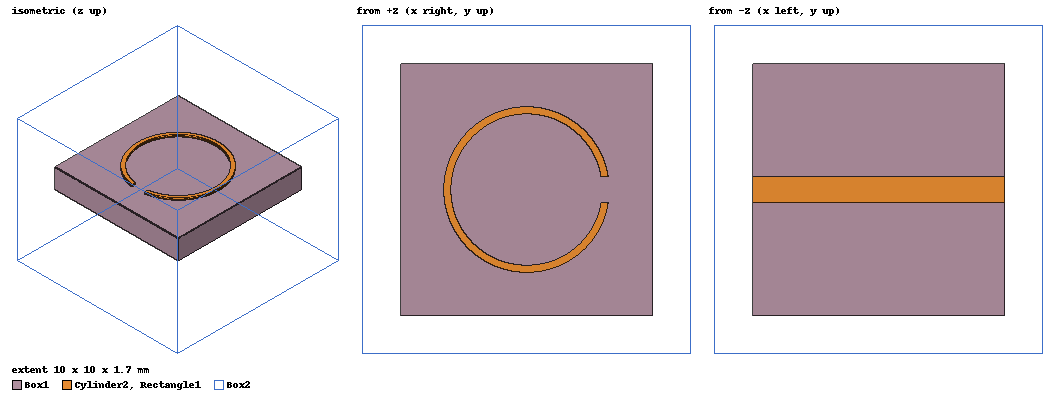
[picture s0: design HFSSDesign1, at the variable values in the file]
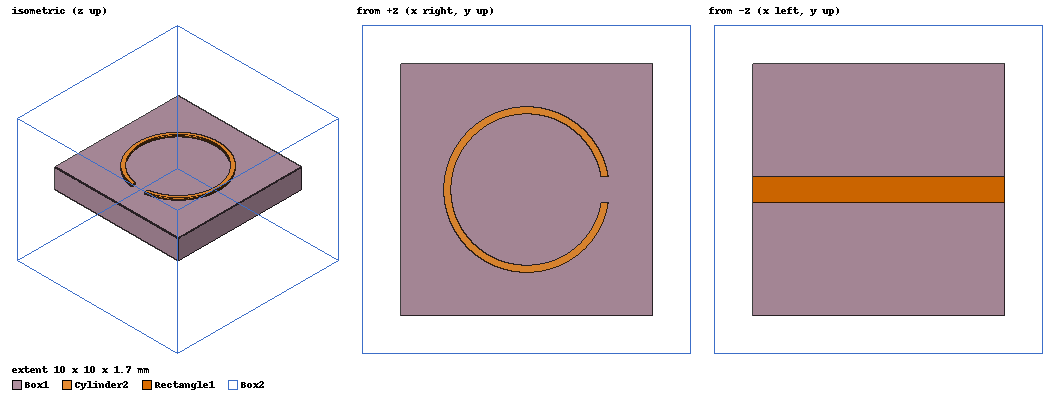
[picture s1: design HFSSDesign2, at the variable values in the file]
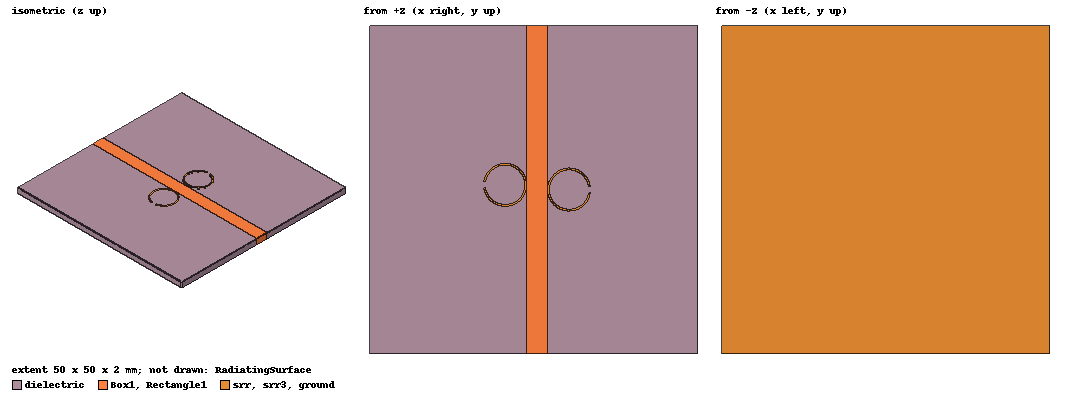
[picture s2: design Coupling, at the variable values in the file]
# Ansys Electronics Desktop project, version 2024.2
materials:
  vacuum: permittivity=1
  FR4_epoxy: permittivity=4.4 dielectric_loss_tangent=0.02
  copper: permeability=0.999991 conductivity=58000000
  air: permittivity=1.0006 permeability=1.0000004

design HFSSDesign1 (HFSS, HFSS Terminal Network, model units mm)
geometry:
  Box1 [FR4_epoxy] = box(corner=(0mm, 0mm, 0mm), size=(10mm, 10mm, 1.6mm))
  Cylinder1 = cylinder(axis=Z, base_centre=(5mm, 5mm, 1.6mm), radius=3mm, height=0.1mm)
  Cylinder2 [copper] = cylinder(axis=Z, base_centre=(5mm, 5mm, 1.6mm), radius=3.281mm, height=0.1mm)
  Slit = box(corner=(7.5mm, 4.5mm, 1.6mm), size=(2mm, 1mm, 0.1mm))
  Cylinder2.subtract(Slit)
  Cylinder2.subtract(Cylinder1)
  Rectangle1 = rectangle(corner=(0mm, 4.5mm, 0mm), x_size=10mm, y_size=1mm)
  Box2 [air] = box(corner=(-1.5mm, -1.5mm, -5mm), size=(13mm, 13mm, 10mm))
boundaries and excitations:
  PerfE1: Perfect E Objects=Cylinder2
  PerfE2: Perfect E Objects=[Cylinder2, Rectangle1]
  PerfE3: Perfect E Faces=Box2.face(-y)
  PerfE4: Perfect E Faces=Box2.face(+y)
  PerfH1: Perfect H Faces=Box2.face(+z)
  PerfH2: Perfect H Faces=Box2.face(-z)
  1: Wave Port Faces=Box2.face(+x) WavePortType=Modal NumModes=1 Modes{Mode1{IntLine{(11.5, -1.5, 0.5) -> (11.5, 11.5, 0)} CharImp=Zpi}}
  2: Wave Port Faces=Box2.face(-x) WavePortType=Modal NumModes=1 Modes{Mode1{IntLine{(-1.5, -1.5, 0) -> (-1.5, 11.5, 0)} CharImp=Zpi}}
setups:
  Setup1: HfssDriven Frequency=5GHz MaxDeltaS=0.02 MaximumPasses=10 MinimumPasses=1 MinimumConvergedPasses=1 PercentRefinement=30 BasisOrder=1 PortAccuracy=2 DrivenSolverType="Direct Solver"
    sweep Sweep: 1GHz to 10GHz, 401 points; Type=Fast SaveFields
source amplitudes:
  1:1: 1V 0deg
  2:1: 0V 0deg
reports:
  S Parameter Plot 1: dB(S(1,1)), dB(S(2,1)) vs Freq on Setup1 : Sweep

design HFSSDesign2 (HFSS, HFSS Terminal Network, model units mm)
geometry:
  Box1 [FR4_epoxy] = box(corner=(0mm, 0mm, 0mm), size=(10mm, 10mm, 1.6mm))
  Cylinder2 [copper] = cylinder(axis=Z, base_centre=(5mm, 5mm, 1.6mm), radius=3.281mm, height=0.1mm)
  Slit = box(corner=(7.5mm, 4.5mm, 1.6mm), size=(2mm, 1mm, 0.1mm))
  Cylinder2.subtract(Slit)
  Cylinder1 = cylinder(axis=Z, base_centre=(5mm, 5mm, 1.6mm), radius=3mm, height=0.1mm)
  Rectangle1 = rectangle(corner=(0mm, 4.5mm, 0mm), x_size=10mm, y_size=1mm)
  Cylinder2.subtract(Cylinder1)
  Box2 [vacuum] = box(corner=(-1.5mm, -1.5mm, -5mm), size=(13mm, 13mm, 10mm))
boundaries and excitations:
  PerfE1: Perfect E Objects=Cylinder2
  PerfE5: Perfect E Objects=Rectangle1
  PerfE8: Perfect E Faces=Box2.face(-y)
  PerfE9: Perfect E Faces=Box2.face(+y)
  PerfH3: Perfect H Faces=Box2.face(+z)
  PerfH4: Perfect H Faces=Box2.face(-z)
  5: Wave Port Faces=Box2.face(+x) WavePortType=Modal NumModes=1 Modes{Mode1{IntLine{(11.5, -1.5, 0) -> (11.5, 11.5, -0.5)} CharImp=Zpi}}
  6: Wave Port Faces=Box2.face(-x) WavePortType=Modal NumModes=1 Modes{Mode1{IntLine{(-1.5, -1.5, 0) -> (-1.5, 11.5, 0)} CharImp=Zpi}}
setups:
  Setup1: HfssDriven Frequency=5GHz MaxDeltaS=0.02 MaximumPasses=10 MinimumPasses=1 MinimumConvergedPasses=1 PercentRefinement=30 BasisOrder=1 PortAccuracy=2 DrivenSolverType="Direct Solver"
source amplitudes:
  5:1: 1V 0deg
  6:1: 0V 0deg
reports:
  S Parameter Plot 1: dB(S(5,5)) vs Freq on Setup1 : LastAdaptive

design Coupling (HFSS, HFSS Terminal Network, model units mm)
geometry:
  dielectric [FR4_epoxy] = box(corner=(-25mm, -25mm, 0mm), size=(50mm, 50mm, 1.6mm))
  srr [copper] = cylinder(axis=Z, base_centre=(5mm, 5mm, 1.6mm), radius=3.281mm, height=0.1mm)
  Slit = box(corner=(7.5mm, 4.5mm, 1.6mm), size=(2mm, 1mm, 0.1mm))
  srr.subtract(Slit)
  Cylinder1 = cylinder(axis=Z, base_centre=(5mm, 5mm, 1.6mm), radius=3mm, height=0.1mm)
  srr.subtract(Cylinder1)
  srr.move(1mm, -5mm, 0mm)
  Box1 [copper] = box(corner=(-1mm, 25mm, 1.6mm), size=(3.06mm, -50mm, 0.1mm))
  Rectangle1 = rectangle(corner=(2.06mm, 25mm, 1.7mm), z_size=-1.7mm, x_size=-3.06mm)
  Rectangle2 = rectangle(corner=(-1mm, -25mm, 1.7mm), z_size=-1.7mm, x_size=3.06mm)
  ground = rectangle(corner=(-25mm, -25mm, 0mm), x_size=50mm, y_size=50mm)
  RadiatingSurface [vacuum] = region(absolute_offset=20mm on all sides)
  srr.move(-0.4mm, 0mm, 0mm)
  srr3 [copper] = cylinder(axis=Z, base_centre=(5mm, 5mm, 1.6mm), radius=3.281mm, height=0.1mm)
  Slit3 = box(corner=(7.5mm, 4.5mm, 1.6mm), size=(2mm, 1mm, 0.1mm))
  srr3.subtract(Slit3)
  Cylinder4 = cylinder(axis=Z, base_centre=(5mm, 5mm, 1.6mm), radius=3mm, height=0.1mm)
  srr3.subtract(Cylinder4)
  srr3.move(1mm, -5mm, 0mm)
  srr3.move(0.25087878mm, 7.0105084mm, 0.3mm)
  srr3.move(-0.4mm, 0mm, 0mm)
  srr3.move(-0.10014557mm, 7.2180861mm, 0.1mm)
  srr3.rotate(axis=Z, angle=180deg)
  srr3.move(2.6645353e-15mm, 14.957189mm, -0.1mm)
  srr.move(-0.2mm, 0mm, 0mm)
  srr3.move(1.4mm, 0mm, 0mm)
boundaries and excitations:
  PerfE1: Perfect E Objects=srr
  PerfE2: Perfect E Objects=Box1
  PerfE3: Perfect E Objects=ground
  Open1: Radiation Objects=RadiatingSurface
  PerfE6: Perfect E Objects=srr3
  1: Lumped Port Objects=Rectangle2 LumpedPortType=Modal Modes{Mode1{IntLine{(0.53, -25, 0) -> (0.53, -25, 1.7)} CharImp=Zpi}} Impedance=50ohm
  2: Lumped Port Objects=Rectangle1 LumpedPortType=Modal Modes{Mode1{IntLine{(0.53, 25, 0) -> (0.53, 25, 1.7)} CharImp=Zpi}} Impedance=50ohm
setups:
  Setup1: HfssDriven Frequency=5GHz MaxDeltaS=0.02 MaximumPasses=6 MinimumPasses=1 MinimumConvergedPasses=1 PercentRefinement=30 BasisOrder=1 PortAccuracy=2 DrivenSolverType="Direct Solver"
    sweep Sweep: 2.5GHz to 7.5GHz, 401 points; Type=Interpolating InterpTolerance=0.5 InterpMaxSolns=250 PassivityErrorTolerance=0.0001
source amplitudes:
  1:1: 1V 0deg
  2:1: 0V 0deg
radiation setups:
  3D: Infinite Sphere Theta=0deg..180deg step 2deg Phi=-180deg..180deg step 2deg
  Elevation: Infinite Sphere Theta=-180deg..180deg step 1deg Phi=0deg..90deg step 90deg
  Azimuth: Infinite Sphere Theta=90deg..90deg step 0deg Phi=-180deg..180deg step 1deg
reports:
  S Parameter Plot 1: dB(S(1,1)), dB(S(2,1)) vs Freq on Setup1 : Sweep
